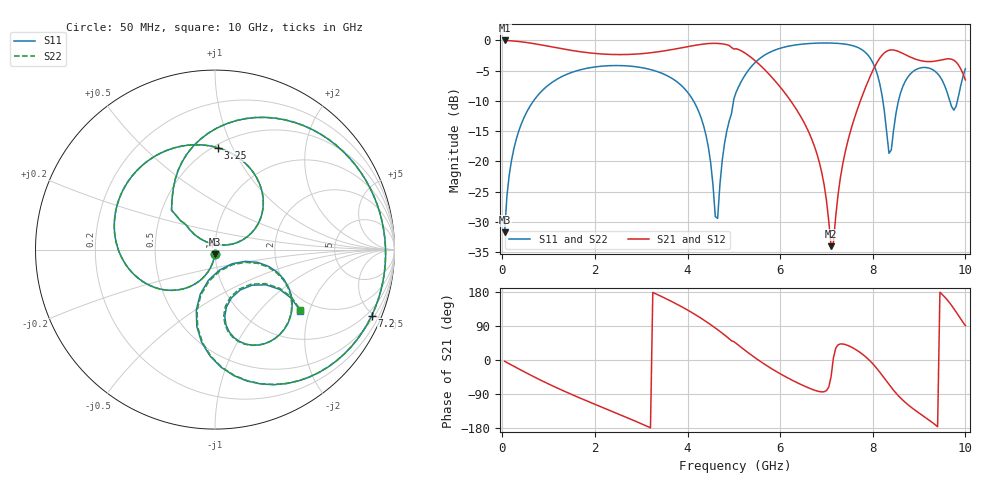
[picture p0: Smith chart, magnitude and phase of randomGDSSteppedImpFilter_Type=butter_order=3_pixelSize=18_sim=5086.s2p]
! freq	dB(S11)	phase(S11)	dB(S12)	phase(S12)
!  dB(S21)	phase(S21)	dB(S22)	phase(S22)
!S-par simulation data
#  GHz  S  DB  R 50
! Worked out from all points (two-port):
!   200 points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, 50 MHz to 10 GHz, reference 50 ohm
!   highest |S21| = -0.01 dB at 50 MHz (marker M1); lowest = -34.0 dB at 7.1 GHz (marker M2)
!   |S21| within 3 dB of the highest: start of sweep to 5.405 GHz; 8.145 GHz to 8.89 GHz (745.8 MHz wide, 8.76 % of centre)
!   lowest |S11| = -31.8 dB at 50 MHz (marker M3), VSWR 1.05, Z = 49.8 - j2.57 ohm
!   |S11| at or under -10 dB: start of sweep to 674.9 MHz; 4.127 GHz to 4.993 GHz (866.1 MHz wide, 19 % of centre); 8.218 GHz to 8.554 GHz (336.4 MHz wide, 4.01 % of centre) (the widest 3 of 4)
!   |S22| runs from -31.8 to -0.4 dB; largest |S21 - S12| = 0
!   S11 on the Smith chart (normalised r, x): 50 MHz: 1.00, -0.05; 3.25 GHz: 0.53, +0.88; 7.2 GHz: 0.67, -4.85; 10 GHz: 1.68, -1.74
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0.05  -31.75 -93.3  -0.01 -3.4  -0.01 -3.4  -31.75 -93.3
0.2  -19.81 -103.7  -0.07 -13.4  -0.07 -13.4  -19.81 -103.7
0.5  -12.26 -123.4  -0.32 -32.9  -0.32 -32.9  -12.26 -123.4
1.75  -4.73 165.3  -1.94 -104.1  -1.94 -104.1  -4.73 165.4
3.25  -4.92 88.4  -2.00 178.3  -2.00 178.3  -4.92 88.5
3.4  -5.30 80.1  -1.84 169.8  -1.84 169.8  -5.29 80.1
4.25  -11.93 27.7  -0.70 113.5  -0.70 113.5  -11.93 27.8
4.65  -29.44 112.2  -0.49 80.0  -0.49 80.0  -29.38 111.8
4.8  -16.99 143.8  -0.63 66.0  -0.63 66.0  -16.99 143.5
5.05  -8.55 129.7  -1.38 43.9  -1.38 43.9  -8.56 129.9
5.8  -1.87 65.3  -5.92 -21.8  -5.92 -21.8  -1.87 65.4
6.7  -0.48 6.8  -16.67 -77.8  -16.67 -77.8  -0.48 6.9
7.1  -0.44 -16.8  -34.03 -43.8  -34.03 -43.8  -0.44 -16.7
7.2  -0.47 -22.9  -29.11 31.3  -29.11 31.3  -0.47 -22.7
7.4  -0.61 -35.6  -18.63 41.0  -18.63 41.0  -0.61 -35.5
7.85  -2.05 -71.3  -7.65 7.9  -7.65 7.9  -2.04 -71.0
8.15  -7.13 -103.3  -2.94 -32.0  -2.94 -32.0  -7.10 -102.7
8.35  -18.67 -77.6  -1.63 -64.7  -1.63 -64.7  -18.27 -76.9
8.75  -6.14 -30.7  -2.54 -117.0  -2.54 -117.0  -6.13 -31.3
9.4  -5.50 -75.0  -3.36 -176.0  -3.36 -176.0  -5.52 -75.5
9.75  -11.53 -58.4  -3.27 135.7  -3.27 135.7  -11.76 -58.6
10  -4.68 -35.7  -6.53 90.9  -6.53 90.9  -4.72 -35.2
